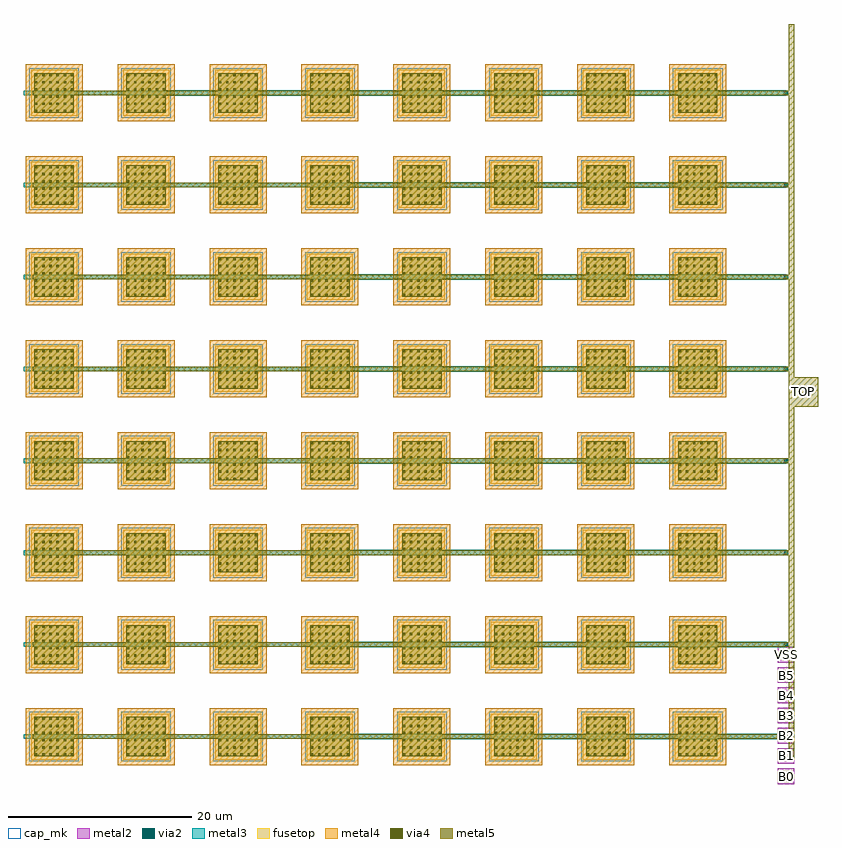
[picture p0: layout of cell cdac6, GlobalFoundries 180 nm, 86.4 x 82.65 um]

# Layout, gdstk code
import gdstk
lib = gdstk.Library(unit=1e-6, precision=1e-09)
def R(c, l, rs):  # rectangles x0, y0, x1, y1
    for r in rs: c.add(gdstk.rectangle(r[:2], r[2:], *l))
def A(c, l, x, y, w, h, nx, ny, dx, dy):  # array of equal rectangles
    R(c, l, [(x+i*dx, y+j*dy, x+i*dx+w, y+j*dy+h) for i in range(nx) for j in range(ny)])
metal2 = (36, 0)
via2 = (38, 0)
via4 = (41, 0)
metal3 = (42, 0)
metal4 = (46, 0)
fusetop = (75, 0)
metal5 = (81, 0)
cap_mk = (117, 5)

cdac6 = lib.new_cell('cdac6')
A(cdac6, metal2, 81.2, -2.65, 1.8, 1.7, 1, 7, 0, 2.2)
A(cdac6, metal2, 81.6, -2.6, 1, 1.6, 1, 7, 0, 2.2)
A(cdac6, metal2, 81.84, 2.36, 0.52, 0.28, 1, 8, 0, 10)
R(cdac6, metal2, [(81.84,72.36,82.36,72.64), (81.84,72.36,82.36,72.64), (81.84,72.36,82.36,72.64)])
A(cdac6, via2, 81.97, 2.37, 0.26, 0.26, 1, 8, 0, 10)
R(cdac6, via2, [(81.97,72.37,82.23,72.63), (81.97,72.37,82.23,72.63), (81.97,72.37,82.23,72.63)])
A(cdac6, via4, 0.42, 0.42, 0.26, 0.26, 6, 6, 0.78, 0.78)
A(cdac6, via4, 10.42, 0.42, 0.26, 0.26, 6, 6, 0.78, 0.78)
A(cdac6, via4, 20.42, 0.42, 0.26, 0.26, 6, 6, 0.78, 0.78)
A(cdac6, via4, 30.42, 0.42, 0.26, 0.26, 6, 6, 0.78, 0.78)
A(cdac6, via4, 40.42, 0.42, 0.26, 0.26, 6, 6, 0.78, 0.78)
A(cdac6, via4, 50.42, 0.42, 0.26, 0.26, 6, 6, 0.78, 0.78)
A(cdac6, via4, 60.42, 0.42, 0.26, 0.26, 6, 6, 0.78, 0.78)
A(cdac6, via4, 70.42, 0.42, 0.26, 0.26, 6, 6, 0.78, 0.78)
A(cdac6, via4, 0.42, 10.42, 0.26, 0.26, 6, 6, 0.78, 0.78)
A(cdac6, via4, 10.42, 10.42, 0.26, 0.26, 6, 6, 0.78, 0.78)
A(cdac6, via4, 20.42, 10.42, 0.26, 0.26, 6, 6, 0.78, 0.78)
A(cdac6, via4, 30.42, 10.42, 0.26, 0.26, 6, 6, 0.78, 0.78)
A(cdac6, via4, 40.42, 10.42, 0.26, 0.26, 6, 6, 0.78, 0.78)
A(cdac6, via4, 50.42, 10.42, 0.26, 0.26, 6, 6, 0.78, 0.78)
A(cdac6, via4, 60.42, 10.42, 0.26, 0.26, 6, 6, 0.78, 0.78)
A(cdac6, via4, 70.42, 10.42, 0.26, 0.26, 6, 6, 0.78, 0.78)
A(cdac6, via4, 0.42, 20.42, 0.26, 0.26, 6, 6, 0.78, 0.78)
A(cdac6, via4, 10.42, 20.42, 0.26, 0.26, 6, 6, 0.78, 0.78)
A(cdac6, via4, 20.42, 20.42, 0.26, 0.26, 6, 6, 0.78, 0.78)
A(cdac6, via4, 30.42, 20.42, 0.26, 0.26, 6, 6, 0.78, 0.78)
A(cdac6, via4, 40.42, 20.42, 0.26, 0.26, 6, 6, 0.78, 0.78)
A(cdac6, via4, 50.42, 20.42, 0.26, 0.26, 6, 6, 0.78, 0.78)
A(cdac6, via4, 60.42, 20.42, 0.26, 0.26, 6, 6, 0.78, 0.78)
A(cdac6, via4, 70.42, 20.42, 0.26, 0.26, 6, 6, 0.78, 0.78)
A(cdac6, via4, 0.42, 30.42, 0.26, 0.26, 6, 6, 0.78, 0.78)
A(cdac6, via4, 10.42, 30.42, 0.26, 0.26, 6, 6, 0.78, 0.78)
A(cdac6, via4, 20.42, 30.42, 0.26, 0.26, 6, 6, 0.78, 0.78)
A(cdac6, via4, 30.42, 30.42, 0.26, 0.26, 6, 6, 0.78, 0.78)
A(cdac6, via4, 40.42, 30.42, 0.26, 0.26, 6, 6, 0.78, 0.78)
A(cdac6, via4, 50.42, 30.42, 0.26, 0.26, 6, 6, 0.78, 0.78)
A(cdac6, via4, 60.42, 30.42, 0.26, 0.26, 6, 6, 0.78, 0.78)
A(cdac6, via4, 70.42, 30.42, 0.26, 0.26, 6, 6, 0.78, 0.78)
A(cdac6, via4, 0.42, 40.42, 0.26, 0.26, 6, 6, 0.78, 0.78)
A(cdac6, via4, 10.42, 40.42, 0.26, 0.26, 6, 6, 0.78, 0.78)
A(cdac6, via4, 20.42, 40.42, 0.26, 0.26, 6, 6, 0.78, 0.78)
A(cdac6, via4, 30.42, 40.42, 0.26, 0.26, 6, 6, 0.78, 0.78)
A(cdac6, via4, 40.42, 40.42, 0.26, 0.26, 6, 6, 0.78, 0.78)
A(cdac6, via4, 50.42, 40.42, 0.26, 0.26, 6, 6, 0.78, 0.78)
A(cdac6, via4, 60.42, 40.42, 0.26, 0.26, 6, 6, 0.78, 0.78)
A(cdac6, via4, 70.42, 40.42, 0.26, 0.26, 6, 6, 0.78, 0.78)
A(cdac6, via4, 0.42, 50.42, 0.26, 0.26, 6, 6, 0.78, 0.78)
A(cdac6, via4, 10.42, 50.42, 0.26, 0.26, 6, 6, 0.78, 0.78)
A(cdac6, via4, 20.42, 50.42, 0.26, 0.26, 6, 6, 0.78, 0.78)
A(cdac6, via4, 30.42, 50.42, 0.26, 0.26, 6, 6, 0.78, 0.78)
A(cdac6, via4, 40.42, 50.42, 0.26, 0.26, 6, 6, 0.78, 0.78)
A(cdac6, via4, 50.42, 50.42, 0.26, 0.26, 6, 6, 0.78, 0.78)
A(cdac6, via4, 60.42, 50.42, 0.26, 0.26, 6, 6, 0.78, 0.78)
A(cdac6, via4, 70.42, 50.42, 0.26, 0.26, 6, 6, 0.78, 0.78)
A(cdac6, via4, 0.42, 60.42, 0.26, 0.26, 6, 6, 0.78, 0.78)
A(cdac6, via4, 10.42, 60.42, 0.26, 0.26, 6, 6, 0.78, 0.78)
A(cdac6, via4, 20.42, 60.42, 0.26, 0.26, 6, 6, 0.78, 0.78)
A(cdac6, via4, 30.42, 60.42, 0.26, 0.26, 6, 6, 0.78, 0.78)
A(cdac6, via4, 40.42, 60.42, 0.26, 0.26, 6, 6, 0.78, 0.78)
A(cdac6, via4, 50.42, 60.42, 0.26, 0.26, 6, 6, 0.78, 0.78)
A(cdac6, via4, 60.42, 60.42, 0.26, 0.26, 6, 6, 0.78, 0.78)
A(cdac6, via4, 70.42, 60.42, 0.26, 0.26, 6, 6, 0.78, 0.78)
A(cdac6, via4, 0.42, 70.42, 0.26, 0.26, 6, 6, 0.78, 0.78)
A(cdac6, via4, 10.42, 70.42, 0.26, 0.26, 6, 6, 0.78, 0.78)
A(cdac6, via4, 20.42, 70.42, 0.26, 0.26, 6, 6, 0.78, 0.78)
A(cdac6, via4, 30.42, 70.42, 0.26, 0.26, 6, 6, 0.78, 0.78)
A(cdac6, via4, 40.42, 70.42, 0.26, 0.26, 6, 6, 0.78, 0.78)
A(cdac6, via4, 50.42, 70.42, 0.26, 0.26, 6, 6, 0.78, 0.78)
A(cdac6, via4, 60.42, 70.42, 0.26, 0.26, 6, 6, 0.78, 0.78)
A(cdac6, via4, 70.42, 70.42, 0.26, 0.26, 6, 6, 0.78, 0.78)
A(cdac6, metal3, 34.7, 2.2, 47.4, 0.6, 1, 7, 0, 10)
A(cdac6, metal3, -0.8, 2.25, 71, 0.5, 1, 7, 0, 10)
A(cdac6, metal3, 81.84, 2.36, 0.52, 0.28, 1, 8, 0, 10)
R(cdac6, metal3, [(14.7,72.2,82.1,72.8), (44.7,72.2,82.1,72.8), (59.7,72.2,82.1,72.8), (69.7,72.2,82.1,72.8), (-0.8,72.25,30.2,72.75), (39.2,72.25,50.2,72.75), (59.2,72.25,60.2,72.75), (69.2,72.25,70.2,72.75), (81.84,72.36,82.36,72.64), (81.84,72.36,82.36,72.64), (81.84,72.36,82.36,72.64)])
A(cdac6, metal4, -0.6, -0.6, 6.2, 6.2, 8, 8, 10, 10)
A(cdac6, fusetop, 0, 0, 5, 5, 8, 8, 10, 10)
A(cdac6, metal5, 0.36, 0.36, 4.28, 4.28, 8, 8, 10, 10)
A(cdac6, metal5, 0.16, 2.25, 82.84, 0.5, 1, 8, 0, 10)
R(cdac6, metal5, [(82.4,0,83,80), (82.4,38.4,85.6,41.6)])
A(cdac6, cap_mk, -0.2, -0.2, 5.4, 5.4, 8, 8, 10, 10)
cdac6.add(gdstk.Label('TOP', (84,40), layer=81, texttype=10))
cdac6.add(gdstk.Label('B5', (82.1,9.2), layer=36, texttype=10))
cdac6.add(gdstk.Label('B4', (82.1,7), layer=36, texttype=10))
cdac6.add(gdstk.Label('B3', (82.1,4.8), layer=36, texttype=10))
cdac6.add(gdstk.Label('B2', (82.1,2.6), layer=36, texttype=10))
cdac6.add(gdstk.Label('B1', (82.1,0.4), layer=36, texttype=10))
cdac6.add(gdstk.Label('B0', (82.1,-1.8), layer=36, texttype=10))
cdac6.add(gdstk.Label('VSS', (82.1,11.4), layer=36, texttype=10))

lib.write_gds('cdac6.gds')
